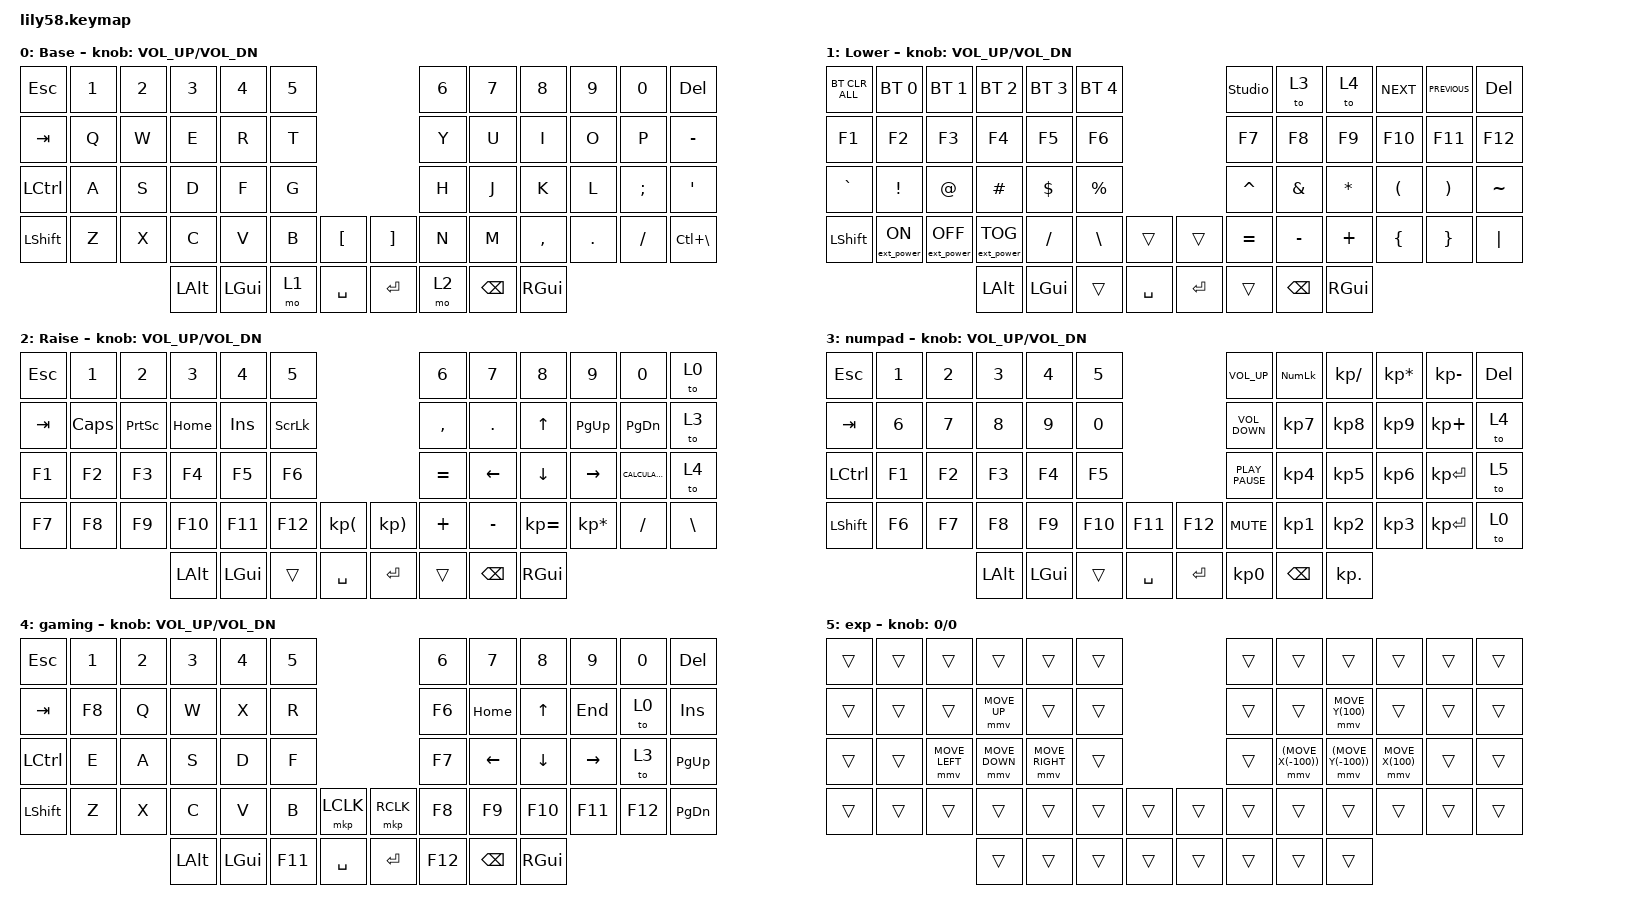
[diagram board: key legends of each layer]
/*
 * Copyright (c) 2020 The ZMK Contributors
 *
 * SPDX-License-Identifier: MIT
 */

#include <behaviors.dtsi>
#include <dt-bindings/zmk/bt.h>
#include <dt-bindings/zmk/ext_power.h>
#include <dt-bindings/zmk/keys.h>
#include <dt-bindings/zmk/pointing.h>

#define default_layer 0
#define lower_layer 1
#define raise_layer 2
#define adjust_layer 3
#define extra_layer 4

/ {
    keymap {
        compatible = "zmk,keymap";

        default_layer {
            display-name = "Base";

            // ------------------------------------------------------------------------------------------------------------
            // |  ESC  |  1  |  2  |  3   |  4   |  5   |                   |  6   |  7    |  8    |  9   |   0   |   `   |
            // |  TAB  |  Q  |  W  |  E   |  R   |  T   |                   |  Y   |  U    |  I    |  O   |   P   |   -   |
            // |  CTRL |  A  |  S  |  D   |  F   |  G   |                   |  H   |  J    |  K    |  L   |   ;   |   '   |
            // | SHIFT |  Z  |  X  |  C   |  V   |  B   |   "["  |  |  "]"  |  N   |  M    |  ,    |  .   |   /   | SHIFT |
            //                     | ALT  | GUI  | LOWER|  SPACE |  | ENTER | RAISE| BSPC  | GUI   |

            bindings = <
&kp ESC    &kp N1  &kp N2  &kp N3    &kp N4    &kp N5                         &kp N6  &kp N7    &kp N8     &kp N9   &kp N0    &kp DEL
&kp TAB    &kp Q   &kp W   &kp E     &kp R     &kp T                          &kp Y   &kp U     &kp I      &kp O    &kp P     &kp MINUS
&kp LCTRL  &kp A   &kp S   &kp D     &kp F     &kp G                          &kp H   &kp J     &kp K      &kp L    &kp SEMI  &kp SQT
&kp LSHFT  &kp Z   &kp X   &kp C     &kp V     &kp B   &kp LBKT     &kp RBKT  &kp N   &kp M     &kp COMMA  &kp DOT  &kp FSLH  &kp LC(BACKSLASH)
                           &kp LALT  &kp LGUI  &mo 1   &kp SPACE    &kp RET   &mo 2   &kp BSPC  &kp RGUI
            >;

            sensor-bindings = <&inc_dec_kp C_VOL_UP C_VOL_DN>;
        };

        lower_layer {
            display-name = "Lower";

            // ------------------------------------------------------------------------------------------------------------
            // | BTCLR | BT1 | BT2 |  BT3 |  BT4 |  BT5 |                   |      |       |       |      |       |       |
            // |  F1   |  F2 |  F3 |  F4  |  F5  |  F6  |                   |  F7  |  F8   |  F9   |  F10 |  F11  |  F12  |
            // |   `   |  !  |  @  |  #   |  $   |  %   |                   |  ^   |  &    |  *    |  (   |   )   |   ~   |
            // |       |     |     |      |      |      |        |  |       |      |  _    |  +    |  {   |   }   |  "|"  |
            //                     |      |      |      |        |  |       |      |       |       |

            bindings = <
&bt BT_CLR_ALL  &bt BT_SEL 0      &bt BT_SEL 1       &bt BT_SEL 2       &bt BT_SEL 3  &bt BT_SEL 4                           &studio_unlock  &to 3          &to 4          &kp K_NEXT  &kp K_PREVIOUS  &kp DEL
&kp F1          &kp F2            &kp F3             &kp F4             &kp F5        &kp F6                                 &kp F7          &kp F8         &kp F9         &kp F10     &kp F11         &kp F12
&kp GRAVE       &kp EXCL          &kp AT             &kp HASH           &kp DOLLAR    &kp PRCNT                              &kp CARET       &kp AMPS       &kp ASTRK      &kp LPAR    &kp RPAR        &kp TILDE
&kp LEFT_SHIFT  &ext_power EP_ON  &ext_power EP_OFF  &ext_power EP_TOG  &kp SLASH     &kp BACKSLASH  &trans       &trans     &kp EQUAL       &kp MINUS      &kp PLUS       &kp LBRC    &kp RBRC        &kp PIPE
                                                     &kp LEFT_ALT       &kp LEFT_GUI  &trans         &kp SPACE    &kp ENTER  &trans          &kp BACKSPACE  &kp RIGHT_GUI
            >;

            sensor-bindings = <&inc_dec_kp C_VOL_UP C_VOL_DN>;
        };

        raise_layer {
            display-name = "Raise";

            // ------------------------------------------------------------------------------------------------------------
            // |       |     |     |      |      |      |                   |      |       |       |      |       |       |
            // |   `   |  1  |  2  |  3   |  4   |  5   |                   |  6   |   7   |   8   |  9   |   0   |       |
            // |   F1  |  F2 |  F3 |  F4  |  F5  |  F6  |                   |      |   <-  |   v   |  ^   |  ->   |       |
            // |   F7  |  F8 |  F9 |  F10 |  F11 |  F12 |        |  |       |  +   |   -   |   =   |  [   |   ]   |   \   |
            //                     |      |      |      |        |  |       |      |       |       |

            bindings = <
&kp ESCAPE  &kp NUMBER_1  &kp NUMBER_2     &kp NUMBER_3  &kp NUMBER_4  &kp NUMBER_5                                                         &kp NUMBER_6  &kp NUMBER_7    &kp NUMBER_8    &kp NUMBER_9     &kp NUMBER_0      &to 0
&kp TAB     &kp CAPS      &kp PRINTSCREEN  &kp HOME      &kp INS       &kp SCROLLLOCK                                                       &kp COMMA     &kp PERIOD      &kp UP_ARROW    &kp PAGE_UP      &kp PAGE_DOWN     &to 3
&kp F1      &kp F2        &kp F3           &kp F4        &kp F5        &kp F6                                                               &kp EQUAL     &kp LEFT_ARROW  &kp DOWN_ARROW  &kp RIGHT_ARROW  &kp K_CALCULATOR  &to 4
&kp F7      &kp F8        &kp F9           &kp F10       &kp F11       &kp F12         &kp KP_LEFT_PARENTHESIS    &kp KP_RIGHT_PARENTHESIS  &kp PLUS      &kp MINUS       &kp KP_EQUAL    &kp KP_MULTIPLY  &kp SLASH         &kp BSLH
                                           &kp LEFT_ALT  &kp LEFT_GUI  &trans          &kp SPACE                  &kp ENTER                 &trans        &kp BACKSPACE   &kp RIGHT_GUI
            >;

            sensor-bindings = <&inc_dec_kp C_VOL_UP C_VOL_DN>;
        };

        numpad {
            display-name = "numpad";

            // ------------------------------------------------------------------------------------------------------------
            // |       |     |     |      |      |      |                   |      |       |       |      |       |       |
            // |   `   |  1  |  2  |  3   |  4   |  5   |                   |  6   |   7   |   8   |  9   |   0   |       |
            // |   F1  |  F2 |  F3 |  F4  |  F5  |  F6  |                   |      |   <-  |   v   |  ^   |  ->   |       |
            // |   F7  |  F8 |  F9 |  F10 |  F11 |  F12 |        |  |       |  +   |   -   |   =   |  [   |   ]   |   \   |
            //                     |      |      |      |        |  |       |      |       |       |

            bindings = <
&kp ESCAPE        &kp NUMBER_1  &kp NUMBER_2  &kp NUMBER_3  &kp NUMBER_4  &kp NUMBER_5                          &kp K_VOLUME_UP    &kp KP_NUMLOCK   &kp KP_DIVIDE    &kp KP_MULTIPLY  &kp KP_MINUS  &kp DELETE
&kp TAB           &kp NUMBER_6  &kp NUMBER_7  &kp NUMBER_8  &kp NUMBER_9  &kp NUMBER_0                          &kp K_VOLUME_DOWN  &kp KP_NUMBER_7  &kp KP_NUMBER_8  &kp KP_NUMBER_9  &kp KP_PLUS   &to 4
&kp LEFT_CONTROL  &kp F1        &kp F2        &kp F3        &kp F4        &kp F5                                &kp K_PLAY_PAUSE   &kp KP_NUMBER_4  &kp KP_NUMBER_5  &kp KP_NUMBER_6  &kp KP_ENTER  &to 5
&kp LEFT_SHIFT    &kp F6        &kp F7        &kp F8        &kp F9        &kp F10       &kp F11      &kp F12    &kp K_MUTE         &kp KP_NUMBER_1  &kp KP_NUMBER_2  &kp KP_NUMBER_3  &kp KP_ENTER  &to 0
                                              &kp LEFT_ALT  &kp LEFT_GUI  &trans        &kp SPACE    &kp ENTER  &kp KP_NUMBER_0    &kp BACKSPACE    &kp KP_DOT
            >;

            sensor-bindings = <&inc_dec_kp C_VOL_UP C_VOL_DN>;
        };

        gaming {
            display-name = "gaming";

            // ------------------------------------------------------------------------------------------------------------
            // |       |     |     |      |      |      |                   |      |       |       |      |       |       |
            // |   `   |  1  |  2  |  3   |  4   |  5   |                   |  6   |   7   |   8   |  9   |   0   |       |
            // |   F1  |  F2 |  F3 |  F4  |  F5  |  F6  |                   |      |   <-  |   v   |  ^   |  ->   |       |
            // |   F7  |  F8 |  F9 |  F10 |  F11 |  F12 |        |  |       |  +   |   -   |   =   |  [   |   ]   |   \   |
            //                     |      |      |      |        |  |       |      |       |       |

            bindings = <
&kp ESCAPE        &kp NUMBER_1  &kp NUMBER_2  &kp NUMBER_3  &kp NUMBER_4  &kp NUMBER_5                          &kp NUMBER_6  &kp NUMBER_7    &kp NUMBER_8    &kp NUMBER_9     &kp NUMBER_0  &kp DELETE
&kp TAB           &kp F8        &kp Q         &kp W         &kp X         &kp R                                 &kp F6        &kp HOME        &kp UP_ARROW    &kp END          &to 0         &kp INSERT
&kp LEFT_CONTROL  &kp E         &kp A         &kp S         &kp D         &kp F                                 &kp F7        &kp LEFT_ARROW  &kp DOWN_ARROW  &kp RIGHT_ARROW  &to 3         &kp PAGE_UP
&kp LEFT_SHIFT    &kp Z         &kp X         &kp C         &kp V         &kp B         &mkp LCLK    &mkp RCLK  &kp F8        &kp F9          &kp F10         &kp F11          &kp F12       &kp PAGE_DOWN
                                              &kp LEFT_ALT  &kp LEFT_GUI  &kp F11       &kp SPACE    &kp ENTER  &kp F12       &kp BACKSPACE   &kp RIGHT_GUI
            >;

            sensor-bindings = <&inc_dec_kp C_VOL_UP C_VOL_DN>;
        };

        Exp {
            bindings = <
&trans  &trans  &trans          &trans          &trans           &trans                    &trans  &trans               &trans               &trans            &trans  &trans
&trans  &trans  &trans          &mmv MOVE_UP    &trans           &trans                    &trans  &trans               &mmv MOVE_Y(100)     &trans            &trans  &trans
&trans  &trans  &mmv MOVE_LEFT  &mmv MOVE_DOWN  &mmv MOVE_RIGHT  &trans                    &trans  &mmv (MOVE_X(-100))  &mmv (MOVE_Y(-100))  &mmv MOVE_X(100)  &trans  &trans
&trans  &trans  &trans          &trans          &trans           &trans  &trans    &trans  &trans  &trans               &trans               &trans            &trans  &trans
                                &trans          &trans           &trans  &trans    &trans  &trans  &trans               &trans
            >;

            sensor-bindings = <&inc_dec_kp 0 0>;
            label = "exp";
        };
    };
};
